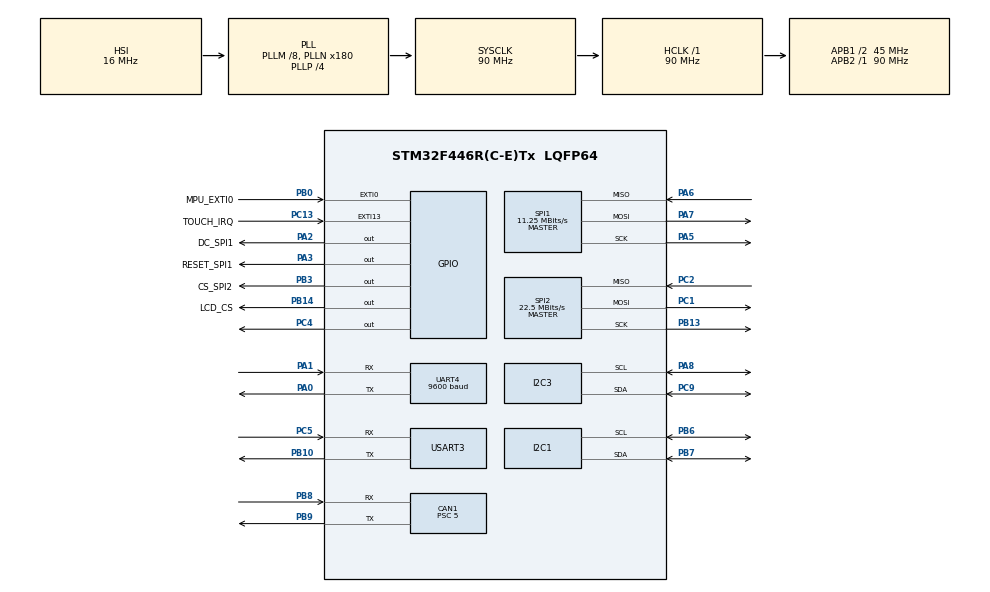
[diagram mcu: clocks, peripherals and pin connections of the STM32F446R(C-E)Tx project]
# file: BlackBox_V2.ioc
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CAN1.BS1=CAN_BS1_13TQ
CAN1.BS2=CAN_BS2_4TQ
CAN1.CalculateBaudRate=500000
CAN1.CalculateTimeBit=2000
CAN1.CalculateTimeQuantum=111.11111111111111
CAN1.Mode=CAN_MODE_SILENT
CAN1.Prescaler=5
IWDG.Prescaler=IWDG_PRESCALER_64
Mcu.Family=STM32F4
Mcu.Name=STM32F446R(C-E)Tx
Mcu.Package=LQFP64
NVIC.CAN1_RX0_IRQn=true\:0\:0\:false\:false\:true\:true\:true\:true
NVIC.CAN1_SCE_IRQn=true\:0\:0\:false\:false\:true\:true\:true\:true
NVIC.EXTI15_10_IRQn=true\:0\:0\:false\:false\:true\:true\:true\:true
NVIC.PriorityGroup=NVIC_PRIORITYGROUP_4
NVIC.UART4_IRQn=true\:0\:0\:false\:false\:true\:true\:true\:true
PA0-WKUP.Mode=Asynchronous
PA0-WKUP.Signal=UART4_TX
PA1.Mode=Asynchronous
PA1.Signal=UART4_RX
PA2.GPIO_Label=DC_SPI1
PA2.Signal=GPIO_Output
PA3.GPIO_Label=RESET_SPI1
PA3.Signal=GPIO_Output
PA5.Mode=Full_Duplex_Master
PA5.Signal=SPI1_SCK
PA6.Mode=Full_Duplex_Master
PA6.Signal=SPI1_MISO
PA7.Mode=Full_Duplex_Master
PA7.Signal=SPI1_MOSI
PA8.Mode=I2C
PA8.Signal=I2C3_SCL
PB0.GPIO_Label=MPU_EXTI0
PB0.Signal=GPXTI0
PB10.Mode=Asynchronous
PB10.Signal=USART3_TX
PB13.Mode=Full_Duplex_Master
PB13.Signal=SPI2_SCK
PB14.GPIO_Label=LCD_CS
PB14.Signal=GPIO_Output
PB3.GPIO_Label=CS_SPI2
PB3.Signal=GPIO_Output
PB6.Mode=I2C
PB6.Signal=I2C1_SCL
PB7.Mode=I2C
PB7.Signal=I2C1_SDA
PB8.Mode=CAN_Activate
PB8.Signal=CAN1_RX
PB9.Mode=CAN_Activate
PB9.Signal=CAN1_TX
PC1.Mode=Full_Duplex_Master
PC1.Signal=SPI2_MOSI
PC13.GPIO_Label=TOUCH_IRQ
PC13.GPIO_ModeDefaultEXTI=GPIO_MODE_IT_FALLING
PC13.GPIO_PuPd=GPIO_PULLUP
PC13.Signal=GPXTI13
PC2.Mode=Full_Duplex_Master
PC2.Signal=SPI2_MISO
PC4.Signal=GPIO_Output
PC5.Mode=Asynchronous
PC5.Signal=USART3_RX
PC9.Mode=I2C
PC9.Signal=I2C3_SDA
ProjectManager.HeapSize=0x200
ProjectManager.StackSize=0x400
ProjectManager.TargetToolchain=STM32CubeIDE
RCC.AHBFreq_Value=90000000
RCC.APB1CLKDivider=RCC_HCLK_DIV2
RCC.APB1Freq_Value=45000000
RCC.APB1TimFreq_Value=90000000
RCC.APB2Freq_Value=90000000
RCC.APB2TimFreq_Value=90000000
RCC.CortexFreq_Value=90000000
RCC.HCLKFreq_Value=90000000
RCC.PLLM=8
RCC.PLLN=180
RCC.PLLP=RCC_PLLP_DIV4
RCC.SYSCLKFreq_VALUE=90000000
RCC.SYSCLKSource=RCC_SYSCLKSOURCE_PLLCLK
RCC.USBFreq_Value=180000000
RCC.VCOOutputFreq_Value=360000000
SPI1.BaudRatePrescaler=SPI_BAUDRATEPRESCALER_8
SPI1.CalculateBaudRate=11.25 MBits/s
SPI1.Direction=SPI_DIRECTION_2LINES
SPI1.Mode=SPI_MODE_MASTER
SPI1.VirtualType=VM_MASTER
SPI2.CalculateBaudRate=22.5 MBits/s
SPI2.Direction=SPI_DIRECTION_2LINES
SPI2.Mode=SPI_MODE_MASTER
SPI2.VirtualType=VM_MASTER
UART4.BaudRate=9600
UART4.VirtualMode=Asynchronous
USART3.VirtualMode=VM_ASYNC
VP_FATFS_VS_Generic.Mode=User_defined
VP_IWDG_VS_IWDG.Mode=IWDG_Activate
VP_RTC_VS_RTC_Activate.Mode=RTC_Enabled
VP_RTC_VS_RTC_Calendar.Mode=RTC_Calendar
board=NUCLEO-F446RE

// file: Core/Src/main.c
/* USER CODE BEGIN Header */
/**
  ******************************************************************************
  * @file           : main.c
  * @brief          : Main program body
  ******************************************************************************
  * @attention
  *
  * Copyright (c) 2026 STMicroelectronics.
  * All rights reserved.
  *
  * This software is licensed under terms that can be found in the LICENSE file
  * in the root directory of this software component.
  * If no LICENSE file comes with this software, it is provided AS-IS.
  *
  ******************************************************************************
  */
/* USER CODE END Header */
#include "main.h"
#include "can.h"
#include "fatfs.h"
#include "i2c.h"
#include "iwdg.h"
#include "rtc.h"
#include "spi.h"
#include "usart.h"
#include "gpio.h"

/* USER CODE BEGIN Includes */
#include "imu.h"
#include "can_handler.h"
#include "sd_logger.h"
#include "fsm_sys.h"
#include "fault.h"
#include "gps_driver.h"
#include "sd_spi_bus.h"
#include "display.h"
#include "touch_driver.h"
#include "fsm_ui.h"
/* USER CODE END Includes */

/* USER CODE BEGIN PV */
volatile bool peripherals_init = true;
/* USER CODE END PV */

void SystemClock_Config(void);

int main(void)
{

  /* MCU Configuration--------------------------------------------------------*/

  /* Reset of all peripherals, Initializes the Flash interface and the Systick. */
  HAL_Init();

  /* Configure the system clock */
  SystemClock_Config();

  /* Initialize all configured peripherals */
  MX_GPIO_Init();
  MX_I2C1_Init();
  MX_FATFS_Init();
  MX_CAN1_Init();
  MX_SPI1_Init();
  MX_UART4_Init();
  MX_RTC_Init();
  MX_SPI2_Init();
  MX_I2C3_Init();
  MX_USART3_UART_Init();
  MX_IWDG_Init();
  /* USER CODE BEGIN 2 */
  /* Re-apply after MX_GPIO_Init — Cube regen often forces CS idle low */
  SD_CS_ForceIdleHigh();

  SD_Logger_Init();
  peripherals_init &= sd_mount;

  imu_init();
  GPS_Driver_Init();
  can_handler_init();

  /* Display after SD so SPI1 Mode0 can be restored */
  LCD_Init();
  Touch_Init();
  UI_Init();

  /* Session files open on first CAN frame (SYS_IDLE -> SYS_LOGGING) */

  /* USER CODE END 2 */

  /* Infinite loop */
  /* USER CODE BEGIN WHILE */
  while (1)
  {
	  SYS_FSM_TICK();
	  CAN_Handler_RecoverBusOff();

	  HAL_IWDG_Refresh(&hiwdg);
    /* USER CODE END WHILE */

  }
}

void SystemClock_Config(void)
{
  RCC_OscInitTypeDef RCC_OscInitStruct = {0};
  RCC_ClkInitTypeDef RCC_ClkInitStruct = {0};

  /** Configure the main internal regulator output voltage
  */
  __HAL_RCC_PWR_CLK_ENABLE();
  __HAL_PWR_VOLTAGESCALING_CONFIG(PWR_REGULATOR_VOLTAGE_SCALE3);

  /** Initializes the RCC Oscillators according to the specified parameters
  * in the RCC_OscInitTypeDef structure.
  */
  RCC_OscInitStruct.OscillatorType = RCC_OSCILLATORTYPE_HSI|RCC_OSCILLATORTYPE_LSI;
  RCC_OscInitStruct.LSEState = RCC_LSE_OFF;
  RCC_OscInitStruct.HSIState = RCC_HSI_ON;
  RCC_OscInitStruct.HSICalibrationValue = RCC_HSICALIBRATION_DEFAULT;
  RCC_OscInitStruct.LSIState = RCC_LSI_ON;
  RCC_OscInitStruct.PLL.PLLState = RCC_PLL_ON;
  RCC_OscInitStruct.PLL.PLLSource = RCC_PLLSOURCE_HSI;
  RCC_OscInitStruct.PLL.PLLM = 8;
  RCC_OscInitStruct.PLL.PLLN = 180;
  RCC_OscInitStruct.PLL.PLLP = RCC_PLLP_DIV4;
  RCC_OscInitStruct.PLL.PLLQ = 2;
  RCC_OscInitStruct.PLL.PLLR = 2;
  if (HAL_RCC_OscConfig(&RCC_OscInitStruct) != HAL_OK)
  {
    Error_Handler();
  }

  /** Initializes the CPU, AHB and APB buses clocks
  */
  RCC_ClkInitStruct.ClockType = RCC_CLOCKTYPE_HCLK|RCC_CLOCKTYPE_SYSCLK
                              |RCC_CLOCKTYPE_PCLK1|RCC_CLOCKTYPE_PCLK2;
  RCC_ClkInitStruct.SYSCLKSource = RCC_SYSCLKSOURCE_PLLCLK;
  RCC_ClkInitStruct.AHBCLKDivider = RCC_SYSCLK_DIV1;
  RCC_ClkInitStruct.APB1CLKDivider = RCC_HCLK_DIV2;
  RCC_ClkInitStruct.APB2CLKDivider = RCC_HCLK_DIV1;

  if (HAL_RCC_ClockConfig(&RCC_ClkInitStruct, FLASH_LATENCY_2) != HAL_OK)
  {
    Error_Handler();
  }
}

void Error_Handler(void)
{
  __disable_irq();
  while (1)
  {
  }
}
